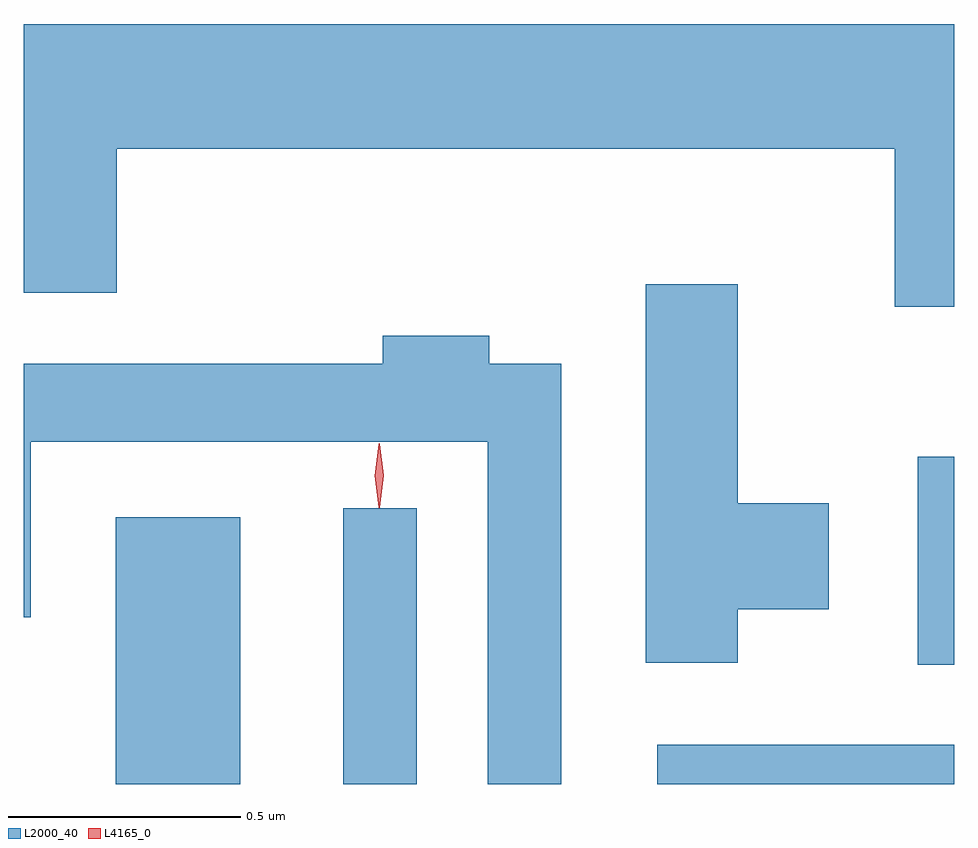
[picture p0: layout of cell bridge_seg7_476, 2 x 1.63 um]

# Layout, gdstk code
import gdstk
lib = gdstk.Library(unit=1e-6, precision=1e-09)
def R(c, l, rs):  # rectangles x0, y0, x1, y1
    for r in rs: c.add(gdstk.rectangle(r[:2], r[2:], *l))
def P(c, l, *ps):  # polygons
    for p in ps: c.add(gdstk.Polygon(p, *l))
L2000_40 = (2000, 40)
L4165_0 = (4165, 0)

bridge_seg7_476 = lib.new_cell('bridge_seg7_476')
R(bridge_seg7_476, L2000_40, [(1084.396,1688.53,1084.664,1689.104), (1084.886,1688.53,1085.044,1689.123), (1085.561,1688.53,1086.199,1688.614), (1086.121,1688.786,1086.199,1689.234)])
P(bridge_seg7_476, L2000_40, [(1086.199,1690.164),(1084.199,1690.164),(1084.199,1689.586),(1084.399,1689.586),(1084.399,1689.896),(1086.071,1689.896),(1086.071,1689.556),(1086.199,1689.556)],
  [(1085.734,1688.906),(1085.929,1688.906),(1085.929,1689.134),(1085.734,1689.134),(1085.734,1689.604),(1085.536,1689.604),(1085.536,1688.791),(1085.734,1688.791)],
  [(1085.354,1689.434),(1085.199,1689.434),(1085.199,1689.494),(1084.971,1689.494),(1084.971,1689.434),(1084.199,1689.434),(1084.199,1688.888),(1084.214,1688.888),(1084.214,1689.266),(1085.196,1689.266),(1085.196,1688.53),(1085.354,1688.53)])
P(bridge_seg7_476, L4165_0, [(1084.963,1689.127),(1084.954,1689.194),(1084.963,1689.26),(1084.963,1689.26),(1084.964,1689.26),(1084.973,1689.194),(1084.964,1689.127),(1084.964,1689.127)],
  [(1084.963,1689.123),(1084.962,1689.124),(1084.953,1689.193),(1084.962,1689.262),(1084.963,1689.263),(1084.964,1689.262),(1084.973,1689.193),(1084.964,1689.124)])

lib.write_gds('bridge_seg7_476.gds')
